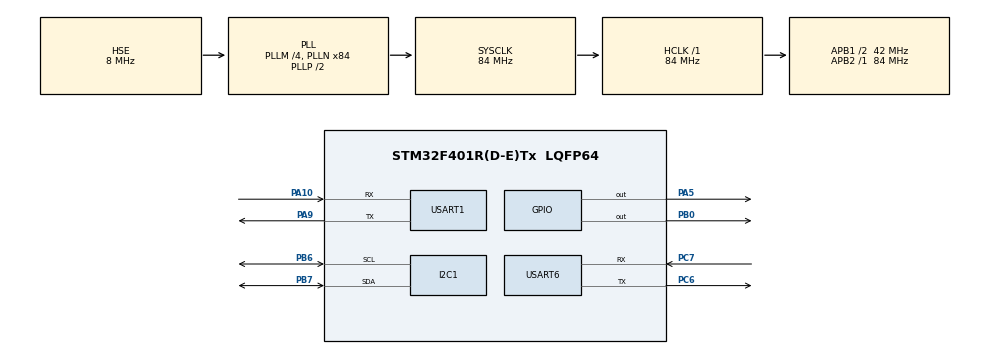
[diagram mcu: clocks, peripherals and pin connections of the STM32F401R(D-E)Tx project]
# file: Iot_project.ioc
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Mcu.Family=STM32F4
Mcu.Name=STM32F401R(D-E)Tx
Mcu.Package=LQFP64
NVIC.PriorityGroup=NVIC_PRIORITYGROUP_4
NVIC.USART1_IRQn=true\:0\:0\:false\:false\:true\:true\:true\:true
NVIC.USART6_IRQn=true\:0\:0\:false\:false\:true\:true\:true\:true
PA10.Mode=Asynchronous
PA10.Signal=USART1_RX
PA13.Mode=Serial_Wire
PA13.Signal=SYS_JTMS-SWDIO
PA14.Mode=Serial_Wire
PA14.Signal=SYS_JTCK-SWCLK
PA5.Signal=GPIO_Output
PA9.Mode=Asynchronous
PA9.Signal=USART1_TX
PB0.Signal=GPIO_Output
PB6.Mode=I2C
PB6.Signal=I2C1_SCL
PB7.Mode=I2C
PB7.Signal=I2C1_SDA
PC6.Mode=Asynchronous
PC6.Signal=USART6_TX
PC7.GPIO_PuPd=GPIO_PULLUP
PC7.Mode=Asynchronous
PC7.Signal=USART6_RX
PH0\ -\ OSC_IN.Mode=HSE-External-Clock-Source
PH0\ -\ OSC_IN.Signal=RCC_OSC_IN
PH1\ -\ OSC_OUT.Mode=HSE-External-Clock-Source
PH1\ -\ OSC_OUT.Signal=RCC_OSC_OUT
ProjectManager.HeapSize=0x200
ProjectManager.StackSize=0x400
ProjectManager.TargetToolchain=STM32CubeIDE
RCC.48MHZClocksFreq_Value=42000000
RCC.AHBFreq_Value=84000000
RCC.APB1CLKDivider=RCC_HCLK_DIV2
RCC.APB1Freq_Value=42000000
RCC.APB1TimFreq_Value=84000000
RCC.APB2Freq_Value=84000000
RCC.APB2TimFreq_Value=84000000
RCC.CortexFreq_Value=84000000
RCC.HCLKFreq_Value=84000000
RCC.HSE_VALUE=8000000
RCC.HSI_VALUE=16000000
RCC.LSE_VALUE=32768
RCC.PLLM=4
RCC.PLLN=84
RCC.PLLSourceVirtual=RCC_PLLSOURCE_HSE
RCC.SYSCLKFreq_VALUE=84000000
RCC.SYSCLKSource=RCC_SYSCLKSOURCE_PLLCLK
RCC.VCOOutputFreq_Value=168000000
USART1.VirtualMode=VM_ASYNC
USART6.VirtualMode=VM_ASYNC
board=custom

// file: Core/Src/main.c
/* USER CODE BEGIN Header */
/**
  ******************************************************************************
  * @file           : main.c
  * @brief          : Main program body
  ******************************************************************************
  * @attention
  *
  * Copyright (c) 2026 STMicroelectronics.
  * All rights reserved.
  *
  * This software is licensed under terms that can be found in the LICENSE file
  * in the root directory of this software component.
  * If no LICENSE file comes with this software, it is provided AS-IS.
  *
  ******************************************************************************
  */
/* USER CODE END Header */
#include "main.h"

/* USER CODE BEGIN Includes */
#include "bme280.h"
#include "esp8266.h"
#include <stdio.h>
#include <string.h>

/* USER CODE END Includes */

/* USER CODE BEGIN PD */
/* Alarm limits (change these as you like) */
#define TEMP_LIMIT      3500    /* 35.00 C  (in 0.01 C)   */
#define HUM_LIMIT       7000    /* 70.00 %  (in 0.01 %RH) */

#define PUBLISH_EVERY_MS    5000    /* send data to MQTT every 5 s     */
#define RECONNECT_EVERY_MS  30000   /* retry Wi-Fi/MQTT every 30 s     */

#define LED_PORT        GPIOA
#define LED_PIN         GPIO_PIN_5
#define BUZZER_PORT     GPIOB
#define BUZZER_PIN      GPIO_PIN_0

/* USER CODE END PD */

I2C_HandleTypeDef hi2c1;

UART_HandleTypeDef huart1;
UART_HandleTypeDef huart6;

/* USER CODE BEGIN PV */
/* Global so they can be watched in the debugger (Live Expressions) */
BME280_Data data;              /* latest sensor reading               */
uint8_t  id;                   /* chip ID: 0x60 BME280, 0x58 BMP280   */
uint8_t  last_alarm = 0;       /* 1 = alarm on                        */
uint32_t last_publish = 0;     /* time of last MQTT send (ms)         */
uint32_t last_reconnect = 0;   /* time of last reconnect try (ms)     */

/* USER CODE END PV */

void SystemClock_Config(void);
static void MX_GPIO_Init(void);
static void MX_I2C1_Init(void);
static void MX_USART1_UART_Init(void);
static void MX_USART6_UART_Init(void);

/* USER CODE BEGIN 0 */
/* Send a text line on USART6 */
static void uart_print(const char *msg)
{
  HAL_UART_Transmit(&huart6, (uint8_t *)msg, strlen(msg), 100);
}

static void alarm_set(uint8_t on)
{
  HAL_GPIO_WritePin(LED_PORT, LED_PIN, on ? GPIO_PIN_SET : GPIO_PIN_RESET);
  HAL_GPIO_WritePin(BUZZER_PORT, BUZZER_PIN, on ? GPIO_PIN_SET : GPIO_PIN_RESET);
}

/* USER CODE END 0 */

int main(void)
{

  /* MCU Configuration--------------------------------------------------------*/

  /* Reset of all peripherals, Initializes the Flash interface and the Systick. */
  HAL_Init();

  /* Configure the system clock */
  SystemClock_Config();

  /* Initialize all configured peripherals */
  MX_GPIO_Init();
  MX_I2C1_Init();
  MX_USART1_UART_Init();
  MX_USART6_UART_Init();
  /* USER CODE BEGIN 2 */
  char msg[100];

  alarm_set(0);
  uart_print("\r\n--- Smart Storage Guard ---\r\n");

  /* Find the sensor (retry until it is found) */
  while ((id = BME280_Init(&hi2c1)) == 0)
  {
    uart_print("BME280 not found! Check wiring (PB6=SCL, PB7=SDA)\r\n");
    HAL_GPIO_TogglePin(LED_PORT, LED_PIN);
    HAL_Delay(1000);
  }
  HAL_GPIO_WritePin(LED_PORT, LED_PIN, GPIO_PIN_RESET);

  if (id == BMP280_CHIP_ID)
    uart_print("Sensor: BMP280 (no humidity)\r\n");
  else
    uart_print("Sensor: BME280 OK\r\n");

  /* Wi-Fi + MQTT (ESP8266 on USART1) */
  char json[128];

  ESP_Init(&huart1);
  uart_print("Connecting Wi-Fi...\r\n");
  if (ESP_ConnectWiFi() && MQTT_Connect())
    uart_print("MQTT connected\r\n");
  else
    uart_print("Wi-Fi/MQTT failed, will retry\r\n");
  last_reconnect = HAL_GetTick();
  /* USER CODE END 2 */

  /* Infinite loop */
  while (1)
  {

    /* USER CODE BEGIN 3 */
    if (BME280_Read(&data) == HAL_OK)
    {
      uint8_t alarm = (data.temperature > TEMP_LIMIT) || (data.humidity > HUM_LIMIT);
      int32_t t = data.temperature;
      const char *sign = (t < 0) ? "-" : "";
      if (t < 0) t = -t;

      snprintf(msg, sizeof(msg),
               "Temp: %s%ld.%02ld C  Hum: %lu.%02lu %%  Press: %lu.%02lu hPa  %s\r\n",
               sign, (long)(t / 100), (long)(t % 100),
               (unsigned long)(data.humidity / 100), (unsigned long)(data.humidity % 100),
               (unsigned long)(data.pressure / 100), (unsigned long)(data.pressure % 100),
               alarm ? "<<< ALARM >>>" : "OK");
      uart_print(msg);

      alarm_set(alarm);

      /* Publish every 5 s, or straight away when the alarm changes */
      if (HAL_GetTick() - last_publish >= PUBLISH_EVERY_MS || alarm != last_alarm)
      {
        snprintf(json, sizeof(json),
                 "{\"temp\":%s%ld.%02ld,\"hum\":%lu.%02lu,\"press\":%lu.%02lu,\"alarm\":%u}",
                 sign, (long)(t / 100), (long)(t % 100),
                 (unsigned long)(data.humidity / 100), (unsigned long)(data.humidity % 100),
                 (unsigned long)(data.pressure / 100), (unsigned long)(data.pressure % 100),
                 alarm);
        if (MQTT_Publish(MQTT_TOPIC, json))
          uart_print("MQTT sent\r\n");
        last_publish = HAL_GetTick();
        last_alarm = alarm;
      }
    }
    else
    {
      uart_print("Sensor read error\r\n");
      alarm_set(0);
      BME280_Init(&hi2c1);   /* try to reconnect */
    }

    /* Reconnect Wi-Fi/MQTT if the connection was lost */
    if (!MQTT_IsConnected() && HAL_GetTick() - last_reconnect >= RECONNECT_EVERY_MS)
    {
      uart_print("Reconnecting MQTT...\r\n");
      if (MQTT_Connect() || (ESP_ConnectWiFi() && MQTT_Connect()))
        uart_print("MQTT connected\r\n");
      last_reconnect = HAL_GetTick();
    }

    HAL_Delay(1000);
  }
  /* USER CODE END 3 */
}

void SystemClock_Config(void)
{
  RCC_OscInitTypeDef RCC_OscInitStruct = {0};
  RCC_ClkInitTypeDef RCC_ClkInitStruct = {0};

  /** Configure the main internal regulator output voltage
  */
  __HAL_RCC_PWR_CLK_ENABLE();
  __HAL_PWR_VOLTAGESCALING_CONFIG(PWR_REGULATOR_VOLTAGE_SCALE2);

  /** Initializes the RCC Oscillators according to the specified parameters
  * in the RCC_OscInitTypeDef structure.
  */
  RCC_OscInitStruct.OscillatorType = RCC_OSCILLATORTYPE_HSE;
  RCC_OscInitStruct.HSEState = RCC_HSE_BYPASS;
  RCC_OscInitStruct.PLL.PLLState = RCC_PLL_ON;
  RCC_OscInitStruct.PLL.PLLSource = RCC_PLLSOURCE_HSE;
  RCC_OscInitStruct.PLL.PLLM = 4;
  RCC_OscInitStruct.PLL.PLLN = 84;
  RCC_OscInitStruct.PLL.PLLP = RCC_PLLP_DIV2;
  RCC_OscInitStruct.PLL.PLLQ = 4;
  if (HAL_RCC_OscConfig(&RCC_OscInitStruct) != HAL_OK)
  {
    Error_Handler();
  }

  /** Initializes the CPU, AHB and APB buses clocks
  */
  RCC_ClkInitStruct.ClockType = RCC_CLOCKTYPE_HCLK|RCC_CLOCKTYPE_SYSCLK
                              |RCC_CLOCKTYPE_PCLK1|RCC_CLOCKTYPE_PCLK2;
  RCC_ClkInitStruct.SYSCLKSource = RCC_SYSCLKSOURCE_PLLCLK;
  RCC_ClkInitStruct.AHBCLKDivider = RCC_SYSCLK_DIV1;
  RCC_ClkInitStruct.APB1CLKDivider = RCC_HCLK_DIV2;
  RCC_ClkInitStruct.APB2CLKDivider = RCC_HCLK_DIV1;

  if (HAL_RCC_ClockConfig(&RCC_ClkInitStruct, FLASH_LATENCY_2) != HAL_OK)
  {
    Error_Handler();
  }
}

static void MX_I2C1_Init(void)
{

  hi2c1.Instance = I2C1;
  hi2c1.Init.ClockSpeed = 100000;
  hi2c1.Init.DutyCycle = I2C_DUTYCYCLE_2;
  hi2c1.Init.OwnAddress1 = 0;
  hi2c1.Init.AddressingMode = I2C_ADDRESSINGMODE_7BIT;
  hi2c1.Init.DualAddressMode = I2C_DUALADDRESS_DISABLE;
  hi2c1.Init.OwnAddress2 = 0;
  hi2c1.Init.GeneralCallMode = I2C_GENERALCALL_DISABLE;
  hi2c1.Init.NoStretchMode = I2C_NOSTRETCH_DISABLE;
  if (HAL_I2C_Init(&hi2c1) != HAL_OK)
  {
    Error_Handler();
  }

}

static void MX_USART1_UART_Init(void)
{

  huart1.Instance = USART1;
  huart1.Init.BaudRate = 115200;
  huart1.Init.WordLength = UART_WORDLENGTH_8B;
  huart1.Init.StopBits = UART_STOPBITS_1;
  huart1.Init.Parity = UART_PARITY_NONE;
  huart1.Init.Mode = UART_MODE_TX_RX;
  huart1.Init.HwFlowCtl = UART_HWCONTROL_NONE;
  huart1.Init.OverSampling = UART_OVERSAMPLING_16;
  if (HAL_UART_Init(&huart1) != HAL_OK)
  {
    Error_Handler();
  }

}

static void MX_USART6_UART_Init(void)
{

  huart6.Instance = USART6;
  huart6.Init.BaudRate = 115200;
  huart6.Init.WordLength = UART_WORDLENGTH_8B;
  huart6.Init.StopBits = UART_STOPBITS_1;
  huart6.Init.Parity = UART_PARITY_NONE;
  huart6.Init.Mode = UART_MODE_TX_RX;
  huart6.Init.HwFlowCtl = UART_HWCONTROL_NONE;
  huart6.Init.OverSampling = UART_OVERSAMPLING_16;
  if (HAL_UART_Init(&huart6) != HAL_OK)
  {
    Error_Handler();
  }

}

static void MX_GPIO_Init(void)
{
  GPIO_InitTypeDef GPIO_InitStruct = {0};

  /* GPIO Ports Clock Enable */
  __HAL_RCC_GPIOH_CLK_ENABLE();
  __HAL_RCC_GPIOA_CLK_ENABLE();
  __HAL_RCC_GPIOB_CLK_ENABLE();
  __HAL_RCC_GPIOC_CLK_ENABLE();

  /*Configure GPIO pin Output Level */
  HAL_GPIO_WritePin(GPIOA, GPIO_PIN_5, GPIO_PIN_RESET);

  /*Configure GPIO pin Output Level */
  HAL_GPIO_WritePin(GPIOB, GPIO_PIN_0, GPIO_PIN_RESET);

  /*Configure GPIO pin : PA5 */
  GPIO_InitStruct.Pin = GPIO_PIN_5;
  GPIO_InitStruct.Mode = GPIO_MODE_OUTPUT_PP;
  GPIO_InitStruct.Pull = GPIO_NOPULL;
  GPIO_InitStruct.Speed = GPIO_SPEED_FREQ_LOW;
  HAL_GPIO_Init(GPIOA, &GPIO_InitStruct);

  /*Configure GPIO pin : PB0 */
  GPIO_InitStruct.Pin = GPIO_PIN_0;
  GPIO_InitStruct.Mode = GPIO_MODE_OUTPUT_PP;
  GPIO_InitStruct.Pull = GPIO_NOPULL;
  GPIO_InitStruct.Speed = GPIO_SPEED_FREQ_LOW;
  HAL_GPIO_Init(GPIOB, &GPIO_InitStruct);

}

void Error_Handler(void)
{
  __disable_irq();
  while (1)
  {
  }
}
